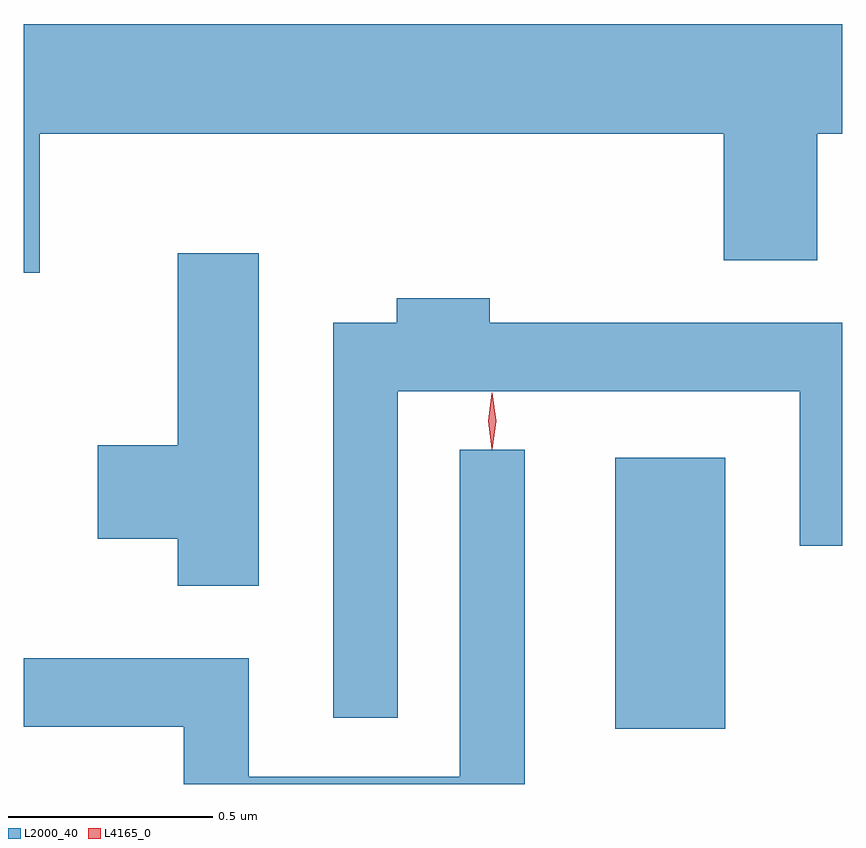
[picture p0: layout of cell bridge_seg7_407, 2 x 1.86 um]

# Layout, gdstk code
import gdstk
lib = gdstk.Library(unit=1e-6, precision=1e-09)
def R(c, l, rs):  # rectangles x0, y0, x1, y1
    for r in rs: c.add(gdstk.rectangle(r[:2], r[2:], *l))
def P(c, l, *ps):  # polygons
    for p in ps: c.add(gdstk.Polygon(p, *l))
L2000_40 = (2000, 40)
L4165_0 = (4165, 0)

bridge_seg7_407 = lib.new_cell('bridge_seg7_407')
R(bridge_seg7_407, L2000_40, [(1139.516,1741.721,1139.784,1742.384)])
P(bridge_seg7_407, L2000_40, [(1138.109,1743.176),(1139.781,1743.176),(1139.781,1742.866),(1140.009,1742.866),(1140.009,1743.176),(1140.07,1743.176),(1140.07,1743.444),(1138.07,1743.444),(1138.07,1742.836),(1138.109,1742.836)],
  [(1138.644,1742.884),(1138.446,1742.884),(1138.446,1742.414),(1138.251,1742.414),(1138.251,1742.186),(1138.446,1742.186),(1138.446,1742.071),(1138.644,1742.071)],
  [(1138.984,1742.546),(1139.966,1742.546),(1139.966,1742.168),(1140.07,1742.168),(1140.07,1742.714),(1139.209,1742.714),(1139.209,1742.774),(1138.981,1742.774),(1138.981,1742.714),(1138.826,1742.714),(1138.826,1741.748),(1138.984,1741.748)],
  [(1139.294,1742.403),(1139.136,1742.403),(1139.136,1741.604),(1138.619,1741.604),(1138.619,1741.894),(1138.07,1741.894),(1138.07,1741.726),(1138.461,1741.726),(1138.461,1741.586),(1139.294,1741.586)])
P(bridge_seg7_407, L4165_0, [(1139.214,1742.404),(1139.205,1742.473),(1139.214,1742.543),(1139.215,1742.543),(1139.215,1742.543),(1139.225,1742.473),(1139.215,1742.404),(1139.215,1742.404)],
  [(1139.214,1742.407),(1139.205,1742.474),(1139.214,1742.54),(1139.215,1742.541),(1139.215,1742.54),(1139.225,1742.474),(1139.215,1742.407),(1139.215,1742.407)])

lib.write_gds('bridge_seg7_407.gds')
